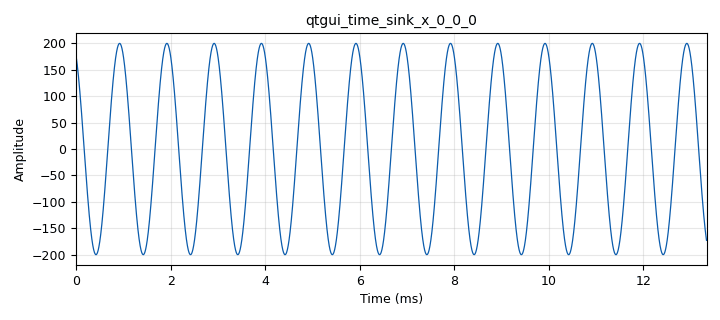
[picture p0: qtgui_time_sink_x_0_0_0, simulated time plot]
options:
  parameters:
    author: wemc8162
    generate_options: qt_gui
    id: beamforming1
    output_language: python
    title: Beamforming
  states: {}

blocks:
- name: samp_rate
  id: variable
  parameters:
    value: '3000000'
  states: {}
- name: analog_const_source_x_0
  id: analog_const_source_x
  parameters:
    const: '0'
    type: float
  states: {}
- name: analog_sig_source_x_0
  id: analog_sig_source_x
  parameters:
    amp: '1'
    freq: '1000'
    offset: '0'
    phase: '0'
    samp_rate: samp_rate
    type: float
    waveform: analog.GR_SIN_WAVE
  states: {}
- name: blocks_add_xx_0
  id: blocks_add_xx
  parameters:
    type: float
  states: {}
- name: blocks_float_to_complex_0
  id: blocks_float_to_complex
  parameters: {}
  states: {}
- name: blocks_multiply_const_vxx_0
  id: blocks_multiply_const_vxx
  parameters:
    const: '200'
    type: float
  states: {}
- name: iio_pluto_sink_0
  id: iio_pluto_sink
  parameters:
    attenuation1: '10.0'
    bandwidth: '20000000'
    buffer_size: '32768'
    cyclic: 'False'
    filter_source: '''Auto'''
    frequency: '1240000000'
    samplerate: samp_rate
    type: fc32
  states: {}
- name: qtgui_time_sink_x_0_0_0
  id: qtgui_time_sink_x
  parameters:
    autoscale: 'True'
    label1: ''
    size: '40000'
    srate: samp_rate
    type: float
    ymax: '10'
    ymin: '-10'
  states: {}

connections:
- [analog_const_source_x_0, '0', blocks_add_xx_0, '1']
- [analog_const_source_x_0, '0', blocks_float_to_complex_0, '1']
- [analog_sig_source_x_0, '0', blocks_multiply_const_vxx_0, '0']
- [blocks_add_xx_0, '0', qtgui_time_sink_x_0_0_0, '0']
- [blocks_float_to_complex_0, '0', iio_pluto_sink_0, '0']
- [blocks_multiply_const_vxx_0, '0', blocks_add_xx_0, '0']
- [blocks_multiply_const_vxx_0, '0', blocks_float_to_complex_0, '0']

metadata:
  file_format: 1
  grc_version: 3.10.7.0
